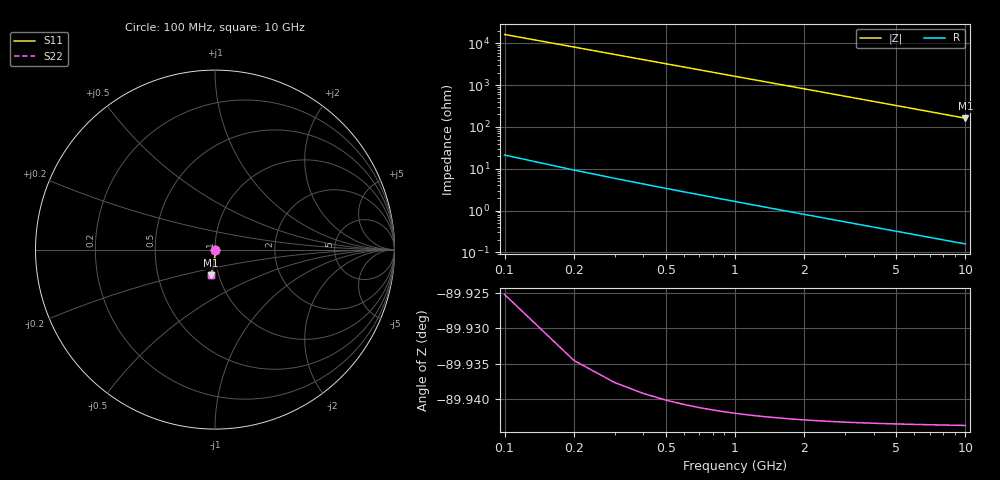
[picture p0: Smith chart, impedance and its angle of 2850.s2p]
# Hz S RI R 50.00
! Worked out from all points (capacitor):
!   100 points, 100 MHz to 10 GHz, reference 50 ohm
!   read as one part in shunt: C = 97.6 fF near 100 MHz
!   lowest |Z| = 162 ohm at 10 GHz (marker M1)
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1e8  1.94e-05 -0.00147  1 -0.0016  1 -0.0016  1.94e-05 -0.00147
2e8  1.1e-05 -0.00293  1 -0.0032  1 -0.0032  1.1e-05 -0.00293
3e8  -2.06e-06 -0.0044  0.9999 -0.0048  0.9999 -0.0048  -2.06e-06 -0.0044
4e8  -1.99e-05 -0.00587  0.9999 -0.0064  0.9999 -0.0064  -1.99e-05 -0.00587
5e8  -4.24e-05 -0.00733  0.9999 -0.008  0.9999 -0.008  -4.24e-05 -0.00733
6e8  -6.97e-05 -0.0088  0.9999 -0.0096  0.9999 -0.0096  -6.97e-05 -0.0088
7e8  -0.000102 -0.0103  0.9998 -0.0112  0.9998 -0.0112  -0.000102 -0.0103
8e8  -0.000138 -0.0117  0.9998 -0.0128  0.9998 -0.0128  -0.000138 -0.0117
9e8  -0.00018 -0.0132  0.9998 -0.0144  0.9998 -0.0144  -0.00018 -0.0132
1.1e9  -0.000276 -0.0161  0.9997 -0.0176  0.9997 -0.0176  -0.000276 -0.0161
1.4e9  -0.000457 -0.0205  0.9995 -0.0224  0.9995 -0.0224  -0.000457 -0.0205
1.8e9  -0.000763 -0.0264  0.9992 -0.0288  0.9992 -0.0288  -0.000763 -0.0264
2.1e9  -0.00104 -0.0308  0.9989 -0.0336  0.9989 -0.0336  -0.00104 -0.0308
2.5e9  -0.00148 -0.0366  0.9985 -0.04  0.9985 -0.04  -0.00148 -0.0366
2.9e9  -0.00199 -0.0425  0.9979 -0.0464  0.9979 -0.0464  -0.00199 -0.0425
3.4e9  -0.00274 -0.0498  0.9972 -0.0543  0.9972 -0.0543  -0.00274 -0.0498
4.2e9  -0.00418 -0.0614  0.9958 -0.0671  0.9958 -0.0671  -0.00418 -0.0614
5.1e9  -0.00615 -0.0745  0.9938 -0.0813  0.9938 -0.0813  -0.00615 -0.0745
5.9e9  -0.00821 -0.086  0.9917 -0.094  0.9917 -0.094  -0.00821 -0.086
6.7e9  -0.0106 -0.0975  0.9893 -0.1065  0.9893 -0.1065  -0.0106 -0.0975
8.4e9  -0.0165 -0.1216  0.9833 -0.133  0.9833 -0.133  -0.0165 -0.1216
1e10  -0.0233 -0.1439  0.9765 -0.1574  0.9765 -0.1574  -0.0233 -0.1439
